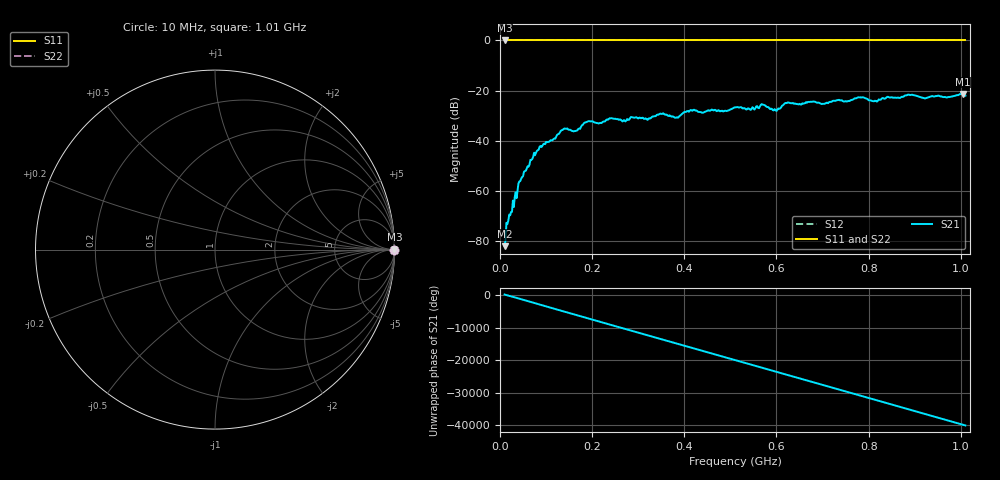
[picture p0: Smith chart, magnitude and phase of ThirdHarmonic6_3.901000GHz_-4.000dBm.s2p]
! 8/17/2025 1:43:15 PM
! C:\ANRITSUVNA\TEMP\TEMP.S2P
! CHANNEL.1
! TR.MEASUREMENT
! RAW.DATA
! RF.CORRECTION.OFF
! AVERAGING.OFF
! IF.BANDWIDTH: 5KHZ
! SWEEPTYPE:  FREQ.SWEEP(Linear)
! Reference Plane Port Info
! PORT:  PORT1  PORT2
! DISTANCE:  0  m  0  m
! TIME:  0  s  0  s
! PHASE.OFFSET:  0  deg.  0  deg.
! LOSS:  0  dB  0  dB
! REF.LOSS:  0  dB  0  dB
! REF.FREQ:  0  Hz  0  Hz
! Power Info
! POWER:  -20  dBm  -20  dBm
! EFF.POWER:  -20  dBm  -20  dBm
! SOURCE.ATTEN:  0  dB  0  dB
! TEST.ATTEN:  0  dB  0  dB
# GHZ S RI R 50.0
! FREQ.GHZ  S11RE  S11IM  S21RE  S21IM  S12RE  S12IM  S22RE  S22IM
!; PortSelection: Port_12
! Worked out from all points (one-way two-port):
!   501 points, 10 MHz to 1.01 GHz, reference 50 ohm
!   highest |S21| = -21.28 dB at 1.004 GHz (marker M1); lowest = -81.9 dB at 10 MHz (marker M2)
!   lowest |S11| = 0.0 dB at 10 MHz (marker M3)
!   |S11| at or under -10 dB: nowhere
!   |S22| runs from 0.0 to 0.0 dB; largest |S21 - S12| = 1.1
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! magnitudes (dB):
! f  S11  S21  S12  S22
! 10 MHz  0.0  -81.9  0.0  0.0
! 18 MHz  0.0  -71.8  0.0  0.0
! 44 MHz  0.0  -56.0  0.0  0.0
! 70 MHz  0.0  -47.2  0.0  0.0
! 90 MHz  0.0  -42.5  0.0  0.0
! 136 MHz  0.0  -35.6  0.0  0.0
! 164 MHz  0.0  -36.0  0.0  0.0
! 178 MHz  0.0  -33.8  0.0  0.0
! 194 MHz  0.0  -32.2  0.0  0.0
! 322 MHz  0.0  -31.2  0.0  0.0
! 344 MHz  0.0  -29.6  0.0  0.0
! 384 MHz  0.0  -30.6  0.0  0.0
! 418 MHz  0.0  -28.0  0.0  0.0
! 510 MHz  0.0  -26.6  0.0  0.0
! 570 MHz  0.0  -25.5  0.0  0.0
! 596 MHz  0.0  -27.3  0.0  0.0
! 622 MHz  0.0  -24.9  0.0  0.0
! 678 MHz  0.0  -24.4  0.0  0.0
! 814 MHz  0.0  -24.0  0.0  0.0
! 844 MHz  0.0  -22.6  0.0  0.0
! 1.004 GHz  0.0  -21.3  0.0  0.0
! 1.01 GHz  0.0  -22.0  0.0  0.0
